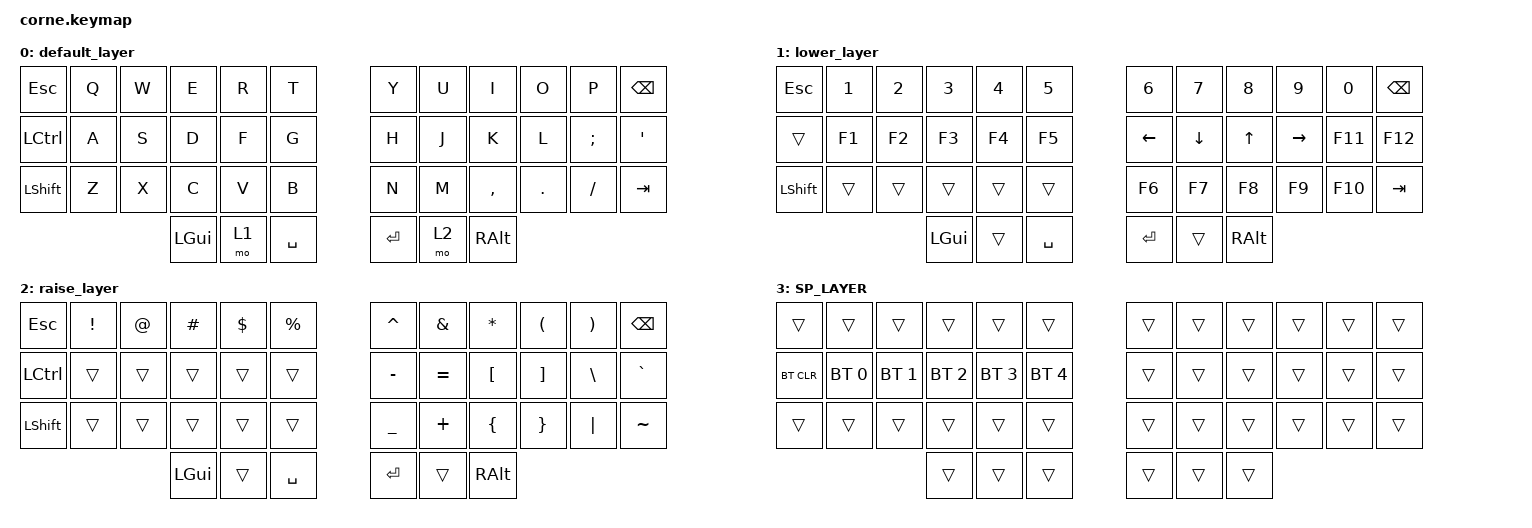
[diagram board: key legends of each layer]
/*
 * Copyright (c) 2020 The ZMK Contributors
 *
 * SPDX-License-Identifier: MIT
 */

#include <behaviors.dtsi>
#include <dt-bindings/zmk/bt.h>
#include <dt-bindings/zmk/keys.h>

/ {
    combos {
        compatible = "zmk,combos";

        L3 {
            bindings = <&mo 3>;
            key-positions = <37 40>;
        };
    };

    keymap {
        compatible = "zmk,keymap";

        default_layer {
            // -----------------------------------------------------------------------------------------
            // |  TAB |  Q  |  W  |  E  |  R  |  T  |   |  Y  |  U   |  I  |  O  |  P  | BKSP |
            // | CTRL |  A  |  S  |  D  |  F  |  G  |   |  H  |  J   |  K  |  L  |  ;  |  '   |
            // | SHFT |  Z  |  X  |  C  |  V  |  B  |   |  N  |  M   |  ,  |  .  |  /  | ESC  |
            //                    | GUI | LWR | SPC |   | ENT | RSE  | ALT |

            bindings = <
&kp ESC    &kp Q  &kp W  &kp E     &kp R  &kp T        &kp Y    &kp U  &kp I      &kp O    &kp P     &kp BSPC
&kp LCTRL  &kp A  &kp S  &kp D     &kp F  &kp G        &kp H    &kp J  &kp K      &kp L    &kp SEMI  &kp SQT
&kp LSHFT  &kp Z  &kp X  &kp C     &kp V  &kp B        &kp N    &kp M  &kp COMMA  &kp DOT  &kp FSLH  &kp TAB
                         &kp LGUI  &mo 1  &kp SPACE    &kp RET  &mo 2  &kp RALT
            >;
        };

        lower_layer {
            // -----------------------------------------------------------------------------------------
            // |  TAB |  1  |  2  |  3  |  4  |  5  |   |  6  |  7  |  8  |  9  |  0  | BKSP |
            // | BTCLR| BT1 | BT2 | BT3 | BT4 | BT5 |   | LFT | DWN |  UP | RGT |     |      |
            // | SHFT |     |     |     |     |     |   |     |     |     |     |     |      |
            //                    | GUI |     | SPC |   | ENT |     | ALT |

            bindings = <
&kp ESCAPE  &kp N1  &kp N2  &kp N3    &kp N4  &kp N5       &kp N6    &kp N7    &kp N8    &kp N9     &kp N0   &kp BSPC
&trans      &kp F1  &kp F2  &kp F3    &kp F4  &kp F5       &kp LEFT  &kp DOWN  &kp UP    &kp RIGHT  &kp F11  &kp F12
&kp LSHFT   &trans  &trans  &trans    &trans  &trans       &kp F6    &kp F7    &kp F8    &kp F9     &kp F10  &kp TAB
                            &kp LGUI  &trans  &kp SPACE    &kp RET   &trans    &kp RALT
            >;
        };

        raise_layer {
            // -----------------------------------------------------------------------------------------
            // |  TAB |  !  |  @  |  #  |  $  |  %  |   |  ^  |  &  |  *  |  (  |  )  | BKSP |
            // | CTRL |     |     |     |     |     |   |  -  |  =  |  [  |  ]  |  \  |  `   |
            // | SHFT |     |     |     |     |     |   |  _  |  +  |  {  |  }  | "|" |  ~   |
            //                    | GUI |     | SPC |   | ENT |     | ALT |

            bindings = <
&kp ESCAPE  &kp EXCL  &kp AT  &kp HASH  &kp DLLR  &kp PRCNT    &kp CARET  &kp AMPS   &kp ASTRK  &kp LPAR  &kp RPAR  &kp BSPC
&kp LCTRL   &trans    &trans  &trans    &trans    &trans       &kp MINUS  &kp EQUAL  &kp LBKT   &kp RBKT  &kp BSLH  &kp GRAVE
&kp LSHFT   &trans    &trans  &trans    &trans    &trans       &kp UNDER  &kp PLUS   &kp LBRC   &kp RBRC  &kp PIPE  &kp TILDE
                              &kp LGUI  &trans    &kp SPACE    &kp RET    &trans     &kp RALT
            >;
        };

        SP_LAYER {
            bindings = <
&trans      &trans        &trans        &trans        &trans        &trans          &trans  &trans  &trans  &trans  &trans  &trans
&bt BT_CLR  &bt BT_SEL 0  &bt BT_SEL 1  &bt BT_SEL 2  &bt BT_SEL 3  &bt BT_SEL 4    &trans  &trans  &trans  &trans  &trans  &trans
&trans      &trans        &trans        &trans        &trans        &trans          &trans  &trans  &trans  &trans  &trans  &trans
                                        &trans        &trans        &trans          &trans  &trans  &trans
            >;
        };
    };
};
